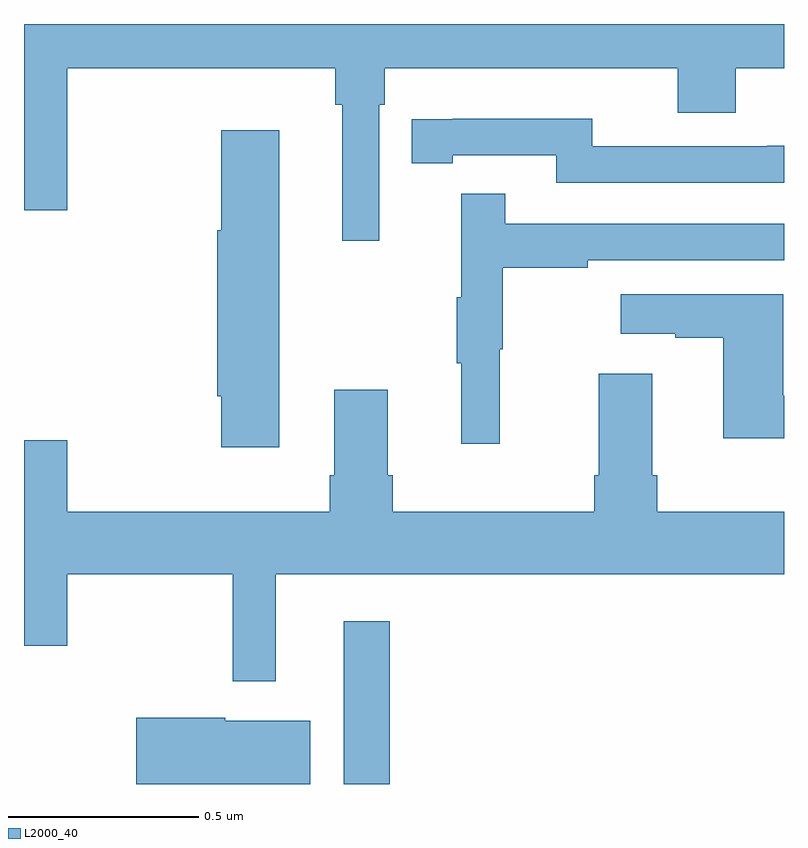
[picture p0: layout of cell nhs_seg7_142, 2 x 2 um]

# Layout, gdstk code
import gdstk
lib = gdstk.Library(unit=1e-6, precision=1e-09)
def R(c, l, rs):  # rectangles x0, y0, x1, y1
    for r in rs: c.add(gdstk.rectangle(r[:2], r[2:], *l))
def P(c, l, *ps):  # polygons
    for p in ps: c.add(gdstk.Polygon(p, *l))
L2000_40 = (2000, 40)

nhs_seg7_142 = lib.new_cell('nhs_seg7_142')
R(nhs_seg7_142, L2000_40, [(112.841,1064,112.963,1064.428)])
P(nhs_seg7_142, L2000_40, [(112.935,1065.788),(112.949,1065.788),(112.949,1065.884),(113.72,1065.884),(113.72,1065.767),(113.873,1065.767),(113.873,1065.884),(114,1065.884),(114,1066),(112,1066),(112,1065.51),(112.114,1065.51),(112.114,1065.884),(112.819,1065.884),(112.819,1065.788),(112.838,1065.788),(112.838,1065.429),(112.935,1065.429)],
  [(114,1065.68),(113.956,1065.68),(113.956,1065.678),(113.496,1065.678),(113.496,1065.751),(113.128,1065.751),(113.128,1065.75),(113.02,1065.75),(113.02,1065.634),(113.128,1065.634),(113.128,1065.654),(113.4,1065.654),(113.4,1065.582),(114,1065.582)],
  [(112.672,1065.721),(112.519,1065.721),(112.519,1065.457),(112.508,1065.457),(112.508,1065.021),(112.519,1065.021),(112.519,1064.886),(112.672,1064.886)],
  [(113.252,1065.144),(113.26,1065.144),(113.26,1065.358),(113.483,1065.358),(113.483,1065.378),(114,1065.378),(114,1065.474),(113.267,1065.474),(113.267,1065.553),(113.15,1065.553),(113.15,1065.281),(113.139,1065.281),(113.139,1065.107),(113.15,1065.107),(113.15,1064.895),(113.252,1064.895)],
  [(114,1065.022),(113.998,1065.022),(113.998,1065.289),(113.571,1065.289),(113.571,1065.185),(113.714,1065.185),(113.714,1065.175),(113.84,1065.175),(113.84,1064.91),(114,1064.91)],
  [(112.663,1064.552),(114,1064.552),(114,1064.716),(113.666,1064.716),(113.666,1064.812),(113.653,1064.812),(113.653,1065.079),(113.513,1065.079),(113.513,1064.812),(113.501,1064.812),(113.501,1064.716),(112.97,1064.716),(112.97,1064.812),(112.957,1064.812),(112.957,1065.037),(112.817,1065.037),(112.817,1064.812),(112.805,1064.812),(112.805,1064.716),(112.114,1064.716),(112.114,1064.905),(112,1064.905),(112,1064.364),(112.114,1064.364),(112.114,1064.552),(112.549,1064.552),(112.549,1064.271),(112.663,1064.271)],
  [(112.753,1064.167),(112.53,1064.167),(112.53,1064.175),(112.296,1064.175),(112.296,1064),(112.753,1064)])

lib.write_gds('nhs_seg7_142.gds')
